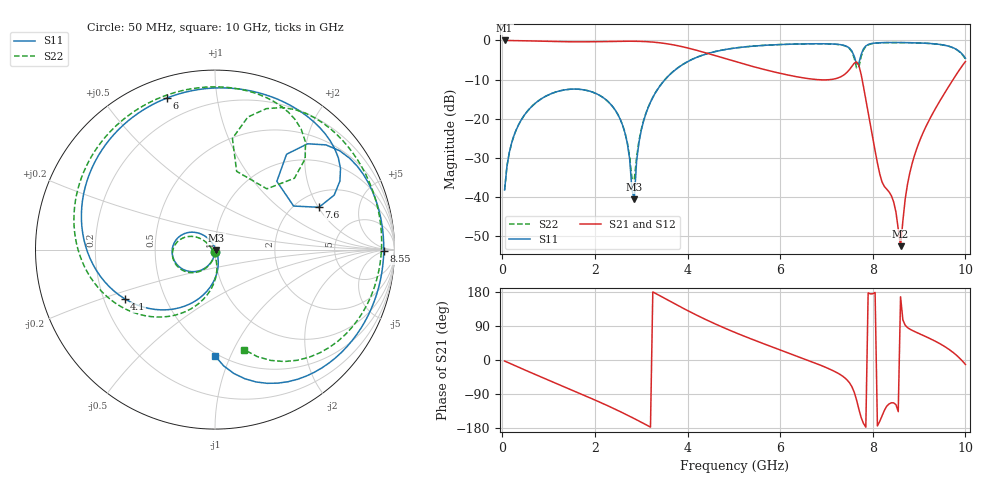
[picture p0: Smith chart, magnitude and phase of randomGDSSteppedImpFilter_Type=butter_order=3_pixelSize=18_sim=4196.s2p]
! freq	dB(S11)	phase(S11)	dB(S12)	phase(S12)
!  dB(S21)	phase(S21)	dB(S22)	phase(S22)
!S-par simulation data
#  GHz  S  DB  R 50
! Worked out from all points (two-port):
!   200 points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, 50 MHz to 10 GHz, reference 50 ohm
!   highest |S21| = -0.01 dB at 50 MHz (marker M1); lowest = -52.5 dB at 8.6 GHz (marker M2)
!   |S21| within 3 dB of the highest: start of sweep to 4.345 GHz
!   lowest |S11| = -40.6 dB at 2.85 GHz (marker M3), VSWR 1.02, Z = 50.8 - j0.502 ohm
!   |S11| at or under -10 dB: start of sweep to 3.515 GHz
!   |S22| runs from -38.2 to -0.5 dB; largest |S21 - S12| = 0
!   S11 on the Smith chart (normalised r, x): 50 MHz: 1.00, -0.02; 4.1 GHz: 0.29, -0.23; 6 GHz: 0.09, +0.73; 7.6 GHz: 2.62, +2.02; 8.55 GHz: 32, -5; 10 GHz: 0.48, -0.88
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0.05  -38.18 -92.5  -0.01 -2.8  -0.01 -2.8  -38.18 -92.4
0.2  -26.26 -101.2  -0.03 -10.9  -0.03 -10.9  -26.26 -100.6
0.5  -18.70 -118.2  -0.10 -27.0  -0.10 -27.0  -18.70 -116.7
1.75  -12.60 174.4  -0.36 -92.3  -0.36 -92.3  -12.60 -179.7
2.55  -20.23 127.4  -0.22 -136.4  -0.22 -136.4  -20.21 142.4
2.85  -40.59 -31.9  -0.21 -154.6  -0.21 -154.6  -35.60 -122.8
3  -23.00 -75.0  -0.25 -164.1  -0.25 -164.1  -22.75 -82.9
3.4  -11.70 -104.4  -0.60 169.7  -0.60 169.7  -11.66 -100.5
4.1  -4.84 -151.4  -2.21 124.2  -2.21 124.2  -4.81 -142.5
5.05  -1.90 154.1  -5.46 71.4  -5.46 71.4  -1.89 167.7
6  -1.05 107.6  -8.40 26.6  -8.40 26.6  -1.05 125.6
6.7  -0.85 74.6  -9.89 -5.5  -9.89 -5.5  -0.85 95.4
7.6  -4.08 22.2  -5.82 -85.1  -5.82 -85.1  -4.51 41.9
7.75  -3.55 53.1  -8.74 -152.1  -8.74 -152.1  -4.06 81.1
8.15  -0.58 20.6  -34.06 -162.1  -34.06 -162.1  -0.62 46.1
8.35  -0.53 9.6  -38.65 -116.0  -38.65 -116.0  -0.56 34.8
8.55  -0.54 -0.5  -48.16 -136.2  -48.16 -136.2  -0.55 24.3
8.6  -0.54 -3.0  -52.53 166.8  -52.53 166.8  -0.55 21.7
8.75  -0.56 -10.5  -36.72 85.6  -36.72 85.6  -0.58 14.0
8.95  -0.62 -20.5  -27.61 72.5  -27.61 72.5  -0.63 3.4
9.5  -1.12 -51.0  -14.44 39.4  -14.44 39.4  -1.13 -29.3
10  -4.54 -90.0  -5.40 -11.7  -5.40 -11.7  -4.73 -73.7
